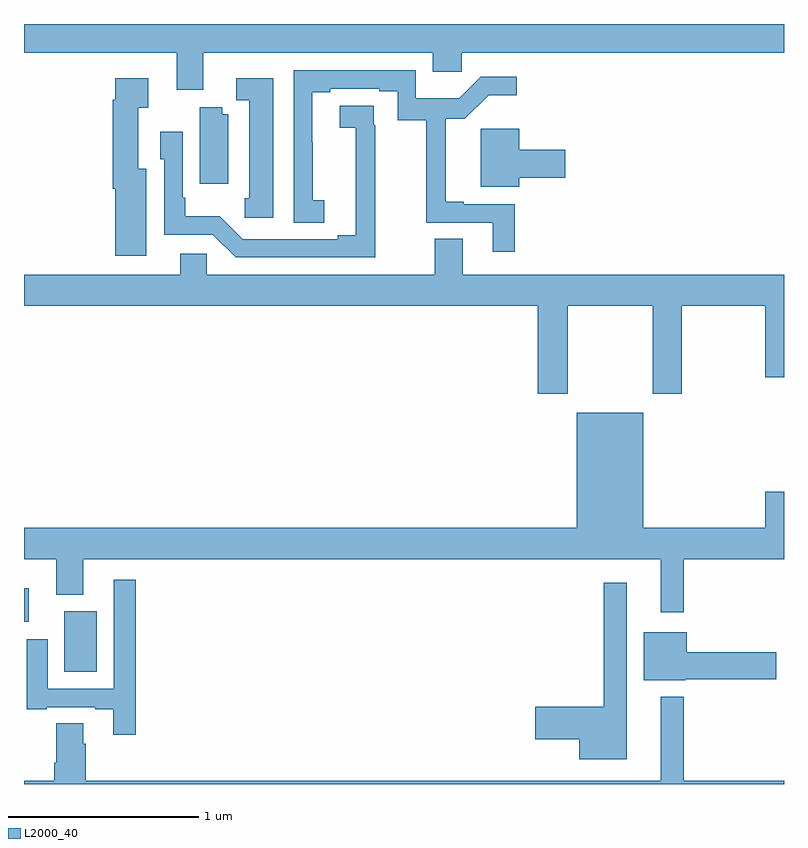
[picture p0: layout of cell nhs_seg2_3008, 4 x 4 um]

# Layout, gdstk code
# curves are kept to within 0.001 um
import gdstk
lib = gdstk.Library(unit=1e-6, precision=1e-09)
def R(c, l, rs):  # rectangles x0, y0, x1, y1
    for r in rs: c.add(gdstk.rectangle(r[:2], r[2:], *l))
def P(c, l, *ps):  # polygons
    for p in ps: c.add(gdstk.Polygon(p, *l))
L2000_40 = (2000, 40)

nhs_seg2_3008 = lib.new_cell('nhs_seg2_3008')
R(nhs_seg2_3008, L2000_40, [(269.213,632.39,269.383,632.71), (269,632.654,269.026,632.83)])
P(nhs_seg2_3008, L2000_40, [(269.944,635.648),(271.151,635.648),(271.151,635.55),(271.303,635.55),(271.303,635.648),(273,635.648),(273,635.8),(269,635.8),(269,635.648),(269.804,635.648),(269.804,635.454),(269.944,635.454)],
  [(271.583,634.851),(271.315,634.851),(271.315,634.864),(271.22,634.864),(271.22,635.301),(271.319,635.301),(271.445,635.426),(271.594,635.426),(271.594,635.523),(271.404,635.523),(271.291,635.41),(271.062,635.41),(271.062,635.556),(270.42,635.556),(270.42,634.753),(270.58,634.753),(270.58,634.873),(270.519,634.873),(270.519,635.177),(270.517,635.177),(270.517,635.44),(270.613,635.44),(270.613,635.46),(270.869,635.46),(270.869,635.446),(270.966,635.446),(270.966,635.293),(271.117,635.293),(271.117,634.755),(271.466,634.755),(271.466,634.602),(271.583,634.602)],
  [(270.313,635.515),(270.117,635.515),(270.117,635.4),(270.185,635.4),(270.185,634.884),(270.163,634.884),(270.163,634.779),(270.313,634.779)],
  [(269.644,635.038),(269.602,635.038),(269.602,635.359),(269.653,635.359),(269.653,635.515),(269.48,635.515),(269.48,635.402),(269.468,635.402),(269.468,634.934),(269.48,634.934),(269.48,634.581),(269.644,634.581)],
  [(270.848,635.267),(270.842,635.267),(270.842,635.369),(270.663,635.369),(270.663,635.254),(270.745,635.254),(270.746,634.688),(270.65,634.688),(270.65,634.668),(270.15,634.668),(270.029,634.789),(269.848,634.789),(269.848,634.885),(269.835,634.885),(269.835,635.233),(269.718,635.233),(269.718,635.088),(269.739,635.088),(269.739,634.692),(269.994,634.692),(270.114,634.572),(270.848,634.572)],
  [(270.076,635.326),(270.044,635.326),(270.044,635.363),(269.924,635.363),(269.924,634.959),(270.076,634.959)],
  [(271.606,634.991),(271.849,634.991),(271.849,635.138),(271.606,635.138),(271.606,635.248),(271.403,635.248),(271.403,634.943),(271.606,634.943)],
  [(271.863,634.316),(272.308,634.316),(272.308,633.855),(272.463,633.855),(272.463,634.316),(272.9,634.316),(272.9,633.942),(273,633.942),(273,634.48),(271.309,634.48),(271.309,634.67),(271.162,634.67),(271.162,634.48),(269.961,634.48),(269.961,634.59),(269.822,634.59),(269.822,634.48),(269,634.48),(269,634.316),(271.703,634.316),(271.703,633.855),(271.863,633.855)],
  [(272.473,632.984),(273,632.984),(273,633.337),(272.9,633.337),(272.9,633.148),(272.26,633.148),(272.26,633.754),(271.91,633.754),(271.91,633.148),(269,633.148),(269,632.984),(269.171,632.984),(269.171,632.795),(269.311,632.795),(269.311,632.984),(272.351,632.984),(272.351,632.703),(272.473,632.703)],
  [(269.588,632.875),(269.472,632.875),(269.472,632.301),(269.125,632.301),(269.125,632.563),(269.015,632.563),(269.015,632.193),(269.119,632.193),(269.119,632.205),(269.375,632.205),(269.375,632.193),(269.471,632.193),(269.471,632.058),(269.588,632.058)],
  [(272.173,632.86),(272.052,632.86),(272.052,632.207),(271.692,632.207),(271.692,632.036),(271.922,632.036),(271.922,631.931),(272.173,631.931)],
  [(272.484,632.351),(272.959,632.351),(272.959,632.493),(272.488,632.493),(272.488,632.599),(272.261,632.599),(272.261,632.345),(272.484,632.345)],
  [(273,631.816),(272.473,631.816),(272.473,632.26),(272.351,632.26),(272.351,631.816),(269.324,631.816),(269.324,632.012),(269.311,632.012),(269.311,632.12),(269.171,632.12),(269.171,631.912),(269.159,631.912),(269.159,631.816),(269,631.816),(269,631.8),(273,631.8)])

lib.write_gds('nhs_seg2_3008.gds')
